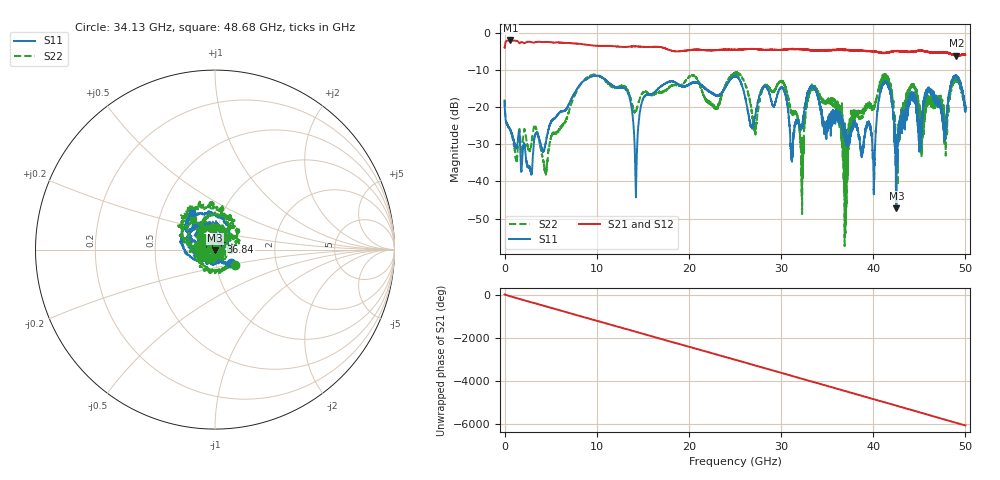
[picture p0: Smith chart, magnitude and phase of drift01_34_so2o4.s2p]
!Created with skrf (http://scikit-rf.org).
# Hz S RI R 50.0
!freq ReS11 ImS11 ReS21 ImS21 ReS12 ImS12 ReS22 ImS22
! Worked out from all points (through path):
!   10001 points, 300 kHz to 50 GHz, reference 50 ohm
!   highest |S21| = -2.00 dB at 625.3 MHz (marker M1); lowest = -6.1 dB at 49.03 GHz (marker M2)
!   group delay of S21, straight-line fit = 336 ps
!   lowest |S11| = -47.2 dB at 42.51 GHz (marker M3), VSWR 1.01, Z = 50 - j0.436 ohm
!   |S11| at or under -10 dB: start of sweep to end of sweep
!   |S22| runs from -57.4 to -10.5 dB; largest |S21 - S12| = 0.018
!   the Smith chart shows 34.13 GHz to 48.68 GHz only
!   S11 on the Smith chart (normalised r, x): 34.13 GHz: 1.19, -0.18; 36.84 GHz: 1.07, +0.09; 48.68 GHz: 0.72, +0.31
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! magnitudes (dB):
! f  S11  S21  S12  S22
! 300 kHz  -18.4  -4.0  -4.0  -17.9
! 625.3 MHz  -26.0  -2.0  -2.0  -26.1
! 4.44 GHz  -29.9  -2.4  -2.4  -37.5
! 8.335 GHz  -13.5  -3.0  -3.0  -13.5
! 13.16 GHz  -15.2  -3.7  -3.7  -14.7
! 14.25 GHz  -44.3  -3.6  -3.6  -21.0
! 16.67 GHz  -15.0  -3.7  -3.7  -15.9
! 25 GHz  -11.6  -4.5  -4.5  -10.8
! 27.15 GHz  -22.5  -4.3  -4.3  -25.8
! 30.2 GHz  -15.1  -4.5  -4.5  -13.4
! 31.14 GHz  -32.1  -4.3  -4.3  -21.3
! 32.25 GHz  -24.9  -4.4  -4.3  -38.9
! 33.34 GHz  -14.3  -4.6  -4.6  -14.9
! 34.13 GHz  -18.5  -4.6  -4.7  -16.9
! 36.84 GHz  -25.5  -4.6  -4.6  -35.7
! 40.04 GHz  -39.5  -4.9  -4.9  -20.5
! 41.67 GHz  -14.3  -5.1  -5.1  -12.7
! 42.51 GHz  -47.2  -4.9  -4.9  -28.1
! 47.76 GHz  -27.4  -5.2  -5.2  -26.0
! 48.68 GHz  -12.4  -5.9  -5.8  -13.6
! 49.03 GHz  -11.7  -6.1  -5.9  -12.4
! 50 GHz  -20.1  -5.8  -5.8  -19.6
